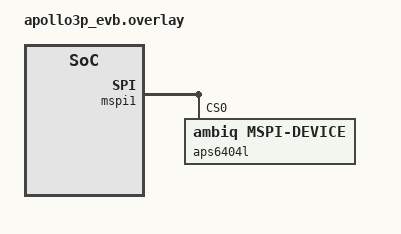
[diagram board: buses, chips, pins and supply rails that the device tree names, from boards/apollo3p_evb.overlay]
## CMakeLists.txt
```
# SPDX-License-Identifier: Apache-2.0

cmake_minimum_required(VERSION 3.20.0)
find_package(Zephyr REQUIRED HINTS $ENV{ZEPHYR_BASE})
project(mspi_async)

FILE(GLOB app_sources src/*.c)
target_sources(app PRIVATE ${app_sources})

if(CONFIG_MEMC_MSPI_APS6404L)
  target_include_directories(app PRIVATE ${ZEPHYR_BASE}/include/zephyr/drivers)
  target_include_directories(app PRIVATE ${ZEPHYR_BASE}/drivers/mspi)
endif()
```

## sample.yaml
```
sample:
  name: MSPI Async Sample
tests:
  sample.drivers.mspi.async:
    tags:
      - mspi
    filter: dt_compat_enabled("mspi-aps6404l")
    platform_exclude: hifive_unmatched
    harness: console
    harness_config:
      type: multi_line
      ordered: true
    depends_on: mspi
```

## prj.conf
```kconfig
CONFIG_STDOUT_CONSOLE=y
CONFIG_MSPI=y
```

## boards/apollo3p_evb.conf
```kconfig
# Copyright (c) 2024 Ambiq Micro Inc. <www.ambiq.com>
# SPDX-License-Identifier: Apache-2.0

CONFIG_MEMC=y
CONFIG_MEMC_MSPI_APS6404L=y
CONFIG_LOG=y
CONFIG_LOG_DEFAULT_LEVEL=0
CONFIG_MSPI_INIT_PRIORITY=40
CONFIG_MEMC_INIT_PRIORITY=50
CONFIG_PM_DEVICE=y
```

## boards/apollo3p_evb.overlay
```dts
/*
 * Copyright (c) 2024, Ambiq Micro Inc. <www.ambiq.com>
 *
 * SPDX-License-Identifier: Apache-2.0
 */

/ {
	aliases {
		dev0 = &aps6404l;
	};
};

&gpio64_95 {
	status = "okay";
};

&gpio32_63 {
	status = "okay";
};

&mspi1 {

	pinctrl-0 = <&mspi1_default>;
	pinctrl-1 = <&mspi1_sleep>;
	pinctrl-2 = <&mspi1_psram>;
	pinctrl-names = "default","sleep","psram";
	status = "okay";

	ce-gpios = <&gpio64_95 5 GPIO_ACTIVE_LOW>,
		   <&gpio32_63 18 GPIO_ACTIVE_LOW>;

	cmdq-buffer-location = ".mspi_buff";
	cmdq-buffer-size = <256>;

	aps6404l: aps6404l@0 {
		compatible = "ambiq,mspi-device", "mspi-aps6404l";
		size = <DT_SIZE_M(64)>;
		reg = <0>;
		status = "okay";
		mspi-max-frequency = <48000000>;
		mspi-io-mode = "MSPI_IO_MODE_QUAD";
		mspi-data-rate = "MSPI_DATA_RATE_SINGLE";
		mspi-hardware-ce-num = <0>;
		read-command = <0xEB>;
		write-command = <0x38>;
		command-length = "INSTR_1_BYTE";
		address-length = "ADDR_3_BYTE";
		rx-dummy = <6>;
		tx-dummy = <0>;
		xip-config = <1 0 0 0>;
		ce-break-config = <1024 3>;
		ambiq,timing-config-mask = <3>;
		ambiq,timing-config = <0 6 0 0 0 0 0 0>;
	};

};

&pinctrl {

	mspi1_sleep: mspi1_sleep{

		group1 {
			pinmux = <GPIO_P51>,
				 <GPIO_P52>,
				 <GPIO_P53>,
				 <GPIO_P54>,
				 <GPIO_P55>,
				 <GPIO_P56>,
				 <GPIO_P57>,
				 <GPIO_P58>,
				 <GPIO_P59>,
				 <GPIO_P69>,
				 <GPIO_P50>;
		};

	};

	mspi1_psram: mspi1_psram{

		group1 {
			pinmux = <MSPI1_0_P51>,
				 <MSPI1_1_P52>,
				 <MSPI1_2_P53>,
				 <MSPI1_3_P54>,
				 <MSPI1_4_P55>,
				 <MSPI1_5_P56>,
				 <MSPI1_6_P57>,
				 <MSPI1_7_P58>;
			drive-strength = "0.75";
			ambiq,iom-mspi = <0>;
			ambiq,iom-num = <1>;
		};

		group2 {
			pinmux = <MSPI1_8_P59>;
			drive-strength = "0.75";
			ambiq,iom-mspi = <0>;
			ambiq,iom-num = <2>;
		};

		group3 {
			pinmux = <NCE69_P69>;
			drive-strength = "1.0";
			ambiq,iom-mspi = <0>;
			ambiq,iom-num = <1>;
		};

		group4 {
			pinmux = <GPIO_P50>;
		};
	};
};
```

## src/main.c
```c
/*
 * Copyright 2022 NXP
 *
 * SPDX-License-Identifier: Apache-2.0
 */

#include <zephyr/kernel.h>
#include <zephyr/logging/log.h>
#include <zephyr/device.h>
#include <zephyr/devicetree.h>
#include <stdio.h>
#include <string.h>
#include <zephyr/drivers/mspi.h>

#define MSPI_BUS                  DT_BUS(DT_ALIAS(dev0))
#define MSPI_TARGET               DT_ALIAS(dev0)

#define BUF_SIZE 1024

#if CONFIG_MEMC_MSPI_APS6404L
#define DEVICE_MEM_WRITE_INSTR    0x38
#define DEVICE_MEM_READ_INSTR     0xEB
#endif

uint8_t memc_write_buffer[BUF_SIZE];
uint8_t memc_read_buffer[BUF_SIZE];

struct user_context {
	uint32_t status;
	uint32_t total_packets;
};

void async_cb(struct mspi_callback_context *mspi_cb_ctx, uint32_t status)
{
	volatile struct user_context *usr_ctx = mspi_cb_ctx->ctx;

	mspi_cb_ctx->mspi_evt.evt_data.status = status;
	if (mspi_cb_ctx->mspi_evt.evt_data.packet_idx == usr_ctx->total_packets - 1) {
		usr_ctx->status = 0;
	}
}

struct mspi_xfer_packet packet1[] = {
	{
		.dir                = MSPI_TX,
		.cmd                = DEVICE_MEM_WRITE_INSTR,
		.address            = 0,
		.num_bytes          = 256,
		.data_buf           = memc_write_buffer,
		.cb_mask            = MSPI_BUS_NO_CB,
	},
	{
		.dir                = MSPI_TX,
		.cmd                = DEVICE_MEM_WRITE_INSTR,
		.address            = 256,
		.num_bytes          = 256,
		.data_buf           = memc_write_buffer + 256,
		.cb_mask            = MSPI_BUS_NO_CB,
	},
	{
		.dir                = MSPI_TX,
		.cmd                = DEVICE_MEM_WRITE_INSTR,
		.address            = 512,
		.num_bytes          = 256,
		.data_buf           = memc_write_buffer + 512,
		.cb_mask            = MSPI_BUS_NO_CB,
	},
	{
		.dir                = MSPI_TX,
		.cmd                = DEVICE_MEM_WRITE_INSTR,
		.address            = 512 + 256,
		.num_bytes          = 256,
		.data_buf           = memc_write_buffer + 512 + 256,
		.cb_mask            = MSPI_BUS_XFER_COMPLETE_CB,
	},
};

struct mspi_xfer_packet packet2[] = {
	{
		.dir                = MSPI_RX,
		.cmd                = DEVICE_MEM_READ_INSTR,
		.address            = 0,
		.num_bytes          = 256,
		.data_buf           = memc_read_buffer,
		.cb_mask            = MSPI_BUS_NO_CB,
	},
	{
		.dir                = MSPI_RX,
		.cmd                = DEVICE_MEM_READ_INSTR,
		.address            = 256,
		.num_bytes          = 256,
		.data_buf           = memc_read_buffer + 256,
		.cb_mask            = MSPI_BUS_NO_CB,
	},
	{
		.dir                = MSPI_RX,
		.cmd                = DEVICE_MEM_READ_INSTR,
		.address            = 512,
		.num_bytes          = 256,
		.data_buf           = memc_read_buffer + 512,
		.cb_mask            = MSPI_BUS_NO_CB,
	},
	{
		.dir                = MSPI_RX,
		.cmd                = DEVICE_MEM_READ_INSTR,
		.address            = 512 + 256,
		.num_bytes          = 256,
		.data_buf           = memc_read_buffer + 512 + 256,
		.cb_mask            = MSPI_BUS_XFER_COMPLETE_CB,
	},
};

struct mspi_xfer xfer1 = {
	.async                      = true,
	.xfer_mode                  = MSPI_DMA,
	.tx_dummy                   = 0,
	.cmd_length                 = 1,
	.addr_length                = 3,
	.priority                   = 1,
	.packets                    = (struct mspi_xfer_packet *)&packet1,
	.num_packet                 = sizeof(packet1) / sizeof(struct mspi_xfer_packet),
};

struct mspi_xfer xfer2 = {
	.async                      = true,
	.xfer_mode                  = MSPI_DMA,
	.rx_dummy                   = 6,
	.cmd_length                 = 1,
	.addr_length                = 3,
	.priority                   = 1,
	.packets                    = (struct mspi_xfer_packet *)&packet2,
	.num_packet                 = sizeof(packet2) / sizeof(struct mspi_xfer_packet),
};

int main(void)
{
	const struct device *controller = DEVICE_DT_GET(MSPI_BUS);
	struct mspi_dev_id dev_id = MSPI_DEVICE_ID_DT(MSPI_TARGET);
	struct mspi_callback_context cb_ctx1, cb_ctx2;
	volatile struct user_context write_ctx, read_ctx;
	int i, j;
	int ret;

	/* Initialize write buffer */
	for (i = 0; i < BUF_SIZE; i++) {
		memc_write_buffer[i] = (uint8_t)i;
	}

	ret = mspi_dev_config(controller, &dev_id, MSPI_DEVICE_CONFIG_NONE, NULL);
	if (ret) {
		printk("Failed to get controller access\n");
		return 1;
	}

	write_ctx.total_packets = xfer1.num_packet;
	write_ctx.status        = ~0;
	cb_ctx1.ctx             = (void *)&write_ctx;
	ret = mspi_register_callback(controller, &dev_id, MSPI_BUS_XFER_COMPLETE,
					(mspi_callback_handler_t)async_cb, &cb_ctx1);
	if (ret) {
		printk("Failed to register callback\n");
		return 1;
	}

	ret = mspi_transceive(controller, &dev_id, &xfer1);
	if (ret) {
		printk("Failed to send transceive\n");
		return 1;
	}

	read_ctx.total_packets  = xfer2.num_packet;
	read_ctx.status         = ~0;
	cb_ctx2.ctx             = (void *)&read_ctx;
	ret = mspi_register_callback(controller, &dev_id, MSPI_BUS_XFER_COMPLETE,
					(mspi_callback_handler_t)async_cb, &cb_ctx2);
	if (ret) {
		printk("Failed to register callback\n");
		return 1;
	}

	ret = mspi_transceive(controller, &dev_id, &xfer2);
	if (ret) {
		printk("Failed to send transceive\n");
		return 1;
	}

	while (write_ctx.status != 0 || read_ctx.status != 0) {
		printk("Waiting for complete..., write completed:%d, read completed:%d\n",
			cb_ctx1.mspi_evt.evt_data.packet_idx,
			cb_ctx2.mspi_evt.evt_data.packet_idx);
		k_busy_wait(100000);
	}

	for (j = 0; j < BUF_SIZE; j++) {
		if (memc_write_buffer[j] != memc_read_buffer[j]) {
			printk("Error: data differs at offset %d\n", j);
			break;
		}
	}
	if (j == BUF_SIZE) {
		printk("Read data matches written data\n");
	}

	return 0;
}
```
